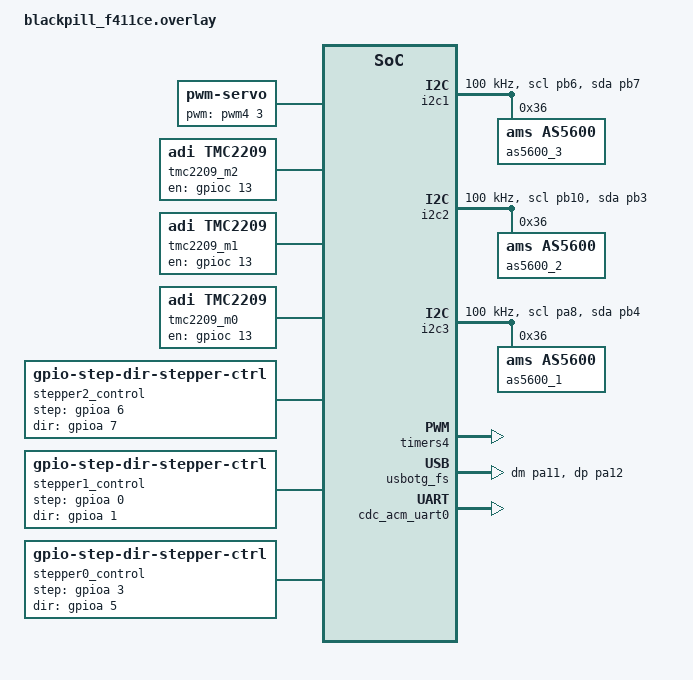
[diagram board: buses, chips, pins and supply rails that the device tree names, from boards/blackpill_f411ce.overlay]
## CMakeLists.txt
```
cmake_minimum_required(VERSION 3.20.0)

set(LIBMICROROS_DIR /home/naj/zephyrproject/micro_ros_zephyr_module/modules/libmicroros)
list(APPEND ZEPHYR_EXTRA_MODULES ${LIBMICROROS_DIR})

find_package(Zephyr REQUIRED HINTS $ENV{ZEPHYR_BASE})
project(joint_microros_tmc2209_gripper_as5600_combined)

target_sources(app PRIVATE src/main.c)
```

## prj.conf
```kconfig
# Zephyr config for triple TMC2209 stepper drivers, gripper servo,
# three AS5600 magnetic encoders, and micro-ROS over USB CDC

CONFIG_GPIO=y
CONFIG_I2C=y
CONFIG_I2C_STM32=y

CONFIG_SENSOR=y
CONFIG_AMS_AS5600=y

CONFIG_MICROROS=y
CONFIG_MICROROS_TRANSPORT_SERIAL_USB=y
CONFIG_CPP=y

CONFIG_MAIN_STACK_SIZE=25000
CONFIG_MAIN_THREAD_PRIORITY=3

CONFIG_NEWLIB_LIBC=y
CONFIG_NEWLIB_LIBC_NANO=n
CONFIG_NEWLIB_LIBC_FLOAT_PRINTF=y

CONFIG_LOG=y
CONFIG_LOG_BACKEND_UART=y
CONFIG_LOG_MODE_DEFERRED=y

CONFIG_SERIAL=y
CONFIG_UART_INTERRUPT_DRIVEN=y
CONFIG_UART_LINE_CTRL=y

CONFIG_POSIX_API=y
CONFIG_POSIX_TIMERS=y
CONFIG_POSIX_CLOCK_SELECTION=y
CONFIG_POSIX_MONOTONIC_CLOCK=y

CONFIG_HEAP_MEM_POOL_SIZE=16384

CONFIG_STEPPER=y
CONFIG_STEPPER_ADI_TMC2209=y
CONFIG_COUNTER=y

CONFIG_PWM=y
CONFIG_PWM_STM32=y

# USB CDC ACM configuration
CONFIG_USB_DEVICE_STACK=y
CONFIG_USB_DEVICE_PRODUCT="STM32 CDC"
CONFIG_USB_DEVICE_VID=0x0483
CONFIG_USB_DEVICE_PID=0x5740
CONFIG_USB_CDC_ACM=y
CONFIG_USB_CDC_ACM_RINGBUF_SIZE=256

# Console
CONFIG_CONSOLE=y
CONFIG_UART_CONSOLE=y
CONFIG_PRINTK=y
CONFIG_STDOUT_CONSOLE=y
```

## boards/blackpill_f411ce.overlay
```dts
/*
 * Device tree overlay for STM32F411 Black Pill with triple TMC2209 stepper drivers,
 * PWM gripper servo, and three AS5600 magnetic encoders on I2C1/I2C2/I2C3.
 *
 * Motor 0 (TMC2209 #1): PC13=EN, PA6=Step, PA7=Dir
 * Motor 1 (TMC2209 #2): PC13=EN, PA0=Step, PA1=Dir
 * Motor 2 (TMC2209 #3): PC13=EN, PA3=Step, PA5=Dir
 * Servo on PB8 (TIM4_CH3)
 *
 * AS5600_1 on I2C1 (PB6=SCL, PB7=SDA) @0x36
 * AS5600_2 on I2C2 (PB10=SCL, PB3=SDA) @0x36
 * AS5600_3 on I2C3 (PA8=SCL, PB4=SDA) @0x36
 */

#include <zephyr/dt-bindings/gpio/gpio.h>
#include <zephyr/dt-bindings/pwm/pwm.h>

/* ==================== I2C Buses with AS5600 ==================== */



/* as5600_3 should be on i2c3 but then I had to replug cables ... this is the soft solution */
&i2c1 {
    status = "okay";
    pinctrl-0 = <&i2c1_scl_pb6 &i2c1_sda_pb7>;
    pinctrl-names = "default";
    clock-frequency = <100000>;

    as5600_3: as5600@36 {
        compatible = "ams,as5600";
        status = "okay";
        reg = <0x36>;
    };
};

&i2c2 {
    pinctrl-0 = <&i2c2_scl_pb10 &i2c2_sda_pb3>;
    pinctrl-names = "default";
    status = "okay";
    clock-frequency = <100000>;

    as5600_2: as5600@36 {
        compatible = "ams,as5600";
        status = "okay";
        reg = <0x36>;
    };
};

&i2c3 {
    pinctrl-0 = <&i2c3_scl_pa8 &i2c3_sda_pb4>;
    pinctrl-names = "default";
    status = "okay";
    clock-frequency = <100000>;

    as5600_1: as5600@36 {
        compatible = "ams,as5600";
        status = "okay";
        reg = <0x36>;
    };
};

/* ==================== PWM Configuration ==================== */

&pinctrl {
    tim4_ch3_pb8: tim4_ch3_pb8 {
        pinmux = <STM32_PINMUX('B', 8, AF2)>;
    };
};

&timers4 {
    status = "okay";
    st,prescaler = <1000>;

    pwm4: pwm {
        status = "okay";
        pinctrl-0 = <&tim4_ch3_pb8>;
        pinctrl-names = "default";
    };
};

/* ==================== Devices ==================== */

/ {
    aliases {
        stepper0 = &stepper0_control;
        stepper1 = &stepper1_control;
        stepper2 = &stepper2_control;
    };

    servo: servo {
        compatible = "pwm-servo";
        pwms = <&pwm4 3 20000000 PWM_POLARITY_NORMAL>;
        min-pulse = <700000>;
        max-pulse = <2300000>;
    };

    tmc2209_m2: tmc2209_m2 {
        compatible = "adi,tmc2209";
        en-gpios = <&gpioc 13 GPIO_ACTIVE_HIGH>;
        micro-step-res = <32>;
    };

    tmc2209_m1: tmc2209_m1 {
        compatible = "adi,tmc2209";
        en-gpios = <&gpioc 13 GPIO_ACTIVE_HIGH>;
        micro-step-res = <32>;
    };


    tmc2209_m0: tmc2209_m0 {
        compatible = "adi,tmc2209";
        en-gpios = <&gpioc 13 GPIO_ACTIVE_HIGH>;
        micro-step-res = <32>;
    };

    stepper2_control: stepper2 {
        compatible = "zephyr,gpio-step-dir-stepper-ctrl";
        status = "okay";
        step-gpios = <&gpioa 6 GPIO_ACTIVE_HIGH>;
        dir-gpios = <&gpioa 7 GPIO_ACTIVE_HIGH>;
        stepper-driver = <&tmc2209_m2>;
    };

    stepper1_control: stepper1 {
        compatible = "zephyr,gpio-step-dir-stepper-ctrl";
        status = "okay";
        step-gpios = <&gpioa 0 GPIO_ACTIVE_HIGH>;
        dir-gpios = <&gpioa 1 GPIO_ACTIVE_HIGH>;
        stepper-driver = <&tmc2209_m1>;
    };

    stepper0_control: stepper0 {
        compatible = "zephyr,gpio-step-dir-stepper-ctrl";
        status = "okay";
        step-gpios = <&gpioa 3 GPIO_ACTIVE_HIGH>;
        dir-gpios = <&gpioa 5 GPIO_ACTIVE_HIGH>;
        stepper-driver = <&tmc2209_m0>;
    };

    chosen {
        zephyr,console = &cdc_acm_uart0;
        zephyr,shell-uart = &cdc_acm_uart0;
    };
};

/* ==================== USB CDC ACM ==================== */

&usbotg_fs {
    pinctrl-0 = <&usb_otg_fs_dm_pa11 &usb_otg_fs_dp_pa12>;
    pinctrl-names = "default";
    status = "okay";
};

&zephyr_udc0 {
    cdc_acm_uart0: cdc_acm_uart0 {
        compatible = "zephyr,cdc-acm-uart";
        label = "CDC_ACM_0";
    };
};
```

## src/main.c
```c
#include <zephyr/kernel.h>
#include <zephyr/drivers/stepper/stepper.h>
#include <zephyr/drivers/stepper/stepper_ctrl.h>
#include <zephyr/drivers/gpio.h>
#include <zephyr/drivers/pwm.h>
#include <zephyr/drivers/sensor.h>
#include <zephyr/drivers/uart.h>
#include <zephyr/logging/log.h>

#include <rcl/rcl.h>
#include <rclc/rclc.h>
#include <rclc/executor.h>
#include <sensor_msgs/msg/joint_state.h>
#include <std_msgs/msg/int32.h>
#include <rcl_interfaces/msg/log.h>
#include <rosidl_runtime_c/string_functions.h>
#include <rosidl_runtime_c/primitives_sequence_functions.h>
#include <rmw_microros/rmw_microros.h>
#include <microros_transports.h>

#define RCCHECK(fn) { rcl_ret_t temp_rc = fn; if((temp_rc != RCL_RET_OK)){LOG_ERR("Failed status on line %d: %d.",__LINE__,(int)temp_rc); return -1; }}
#define RCSOFTCHECK(fn) { rcl_ret_t temp_rc = fn; if((temp_rc != RCL_RET_OK)){LOG_WRN("Failed status on line %d: %d.",__LINE__,(int)temp_rc);}}

#define STEPPER_ENABLE_PIN 13
#define STEPPER0_NODE DT_NODELABEL(stepper0_control)
#define STEPPER1_NODE DT_NODELABEL(stepper1_control)
#define STEPPER2_NODE DT_NODELABEL(stepper2_control)

int64_t last_command_time = 0;
bool motors_enabled = false;



#define AS5600_1 DT_NODELABEL(as5600_1)
#define AS5600_2 DT_NODELABEL(as5600_2)
#define AS5600_3 DT_NODELABEL(as5600_3)

#define M_PI 3.14159265358979323846

/*these parameters are calibration values obtained while using rviz, where the simulated robot has to match the real one*/
// these have been set in calibration.yaml under rviz
//#define JOINT1_OFFSET  2.903821818033854
//#define JOINT2_OFFSET  1.3882471720377605
//#define JOINT3_OFFSET  3.4131018744574653

//#define JOINT1_DIR 1
//#define JOINT2_DIR -1 
//#define JOINT3_DIR 1 

/*since the encoder is on the steppermotor, which rotates more than the robot arm because of gears / reduction*/
//#define JOINT1_RED 6
//#define JOINT2_RED 3 
//#define JOINT3_RED 3 

#define MAX_JOINTS 5 

static const struct pwm_dt_spec servo = PWM_DT_SPEC_GET(DT_NODELABEL(servo));
static const uint32_t min_pulse = DT_PROP(DT_NODELABEL(servo), min_pulse);
static const uint32_t max_pulse = DT_PROP(DT_NODELABEL(servo), max_pulse);

LOG_MODULE_REGISTER(joint_stepper_microros, LOG_LEVEL_INF);

#define ANGLE_TO_STEPS(angle_rad)  ((int32_t)((angle_rad) * 509.3))

const struct device *stepper0_dev;
const struct device *stepper1_dev;
const struct device *stepper2_dev;
const struct device *gpioc_dev;
static int32_t current_microsteps0 = 0;
static int32_t current_microsteps1 = 0;
static int32_t current_microsteps2 = 0;

struct k_sem stepper0_sem;
struct k_sem stepper1_sem;
struct k_sem stepper2_sem;

const struct device *usart1_dev;

rcl_subscription_t joint_commands_subscriber;
static sensor_msgs__msg__JointState joint_state_msg;


rcl_publisher_t log_publisher;
rcl_interfaces__msg__Log log_msg;

static struct sensor_value encoder1_angle;
static struct sensor_value encoder2_angle;
static struct sensor_value encoder3_angle;

rcl_publisher_t joint_state_publisher;
static sensor_msgs__msg__JointState joint_state_pub_msg;

void micro_ros_log_init(rcl_node_t *node)
{
    log_msg.msg.capacity = 128;
    log_msg.msg.data = (char *)malloc(log_msg.msg.capacity * sizeof(char));
    log_msg.msg.size = 0;

    rcl_publisher_options_t pub_ops = rcl_publisher_get_default_options();

    rcl_ret_t ret = rcl_publisher_init(&log_publisher, node,
                       ROSIDL_GET_MSG_TYPE_SUPPORT(rcl_interfaces, msg, Log),
                       "/micro_ros/log",
                       &pub_ops);
    if (ret != RCL_RET_OK) {
        printk("micro-ROS log publisher init failed: %d\n", ret);
    }
}

void micro_ros_log_publish(const char *msg, int level)
{
    uint64_t now_ns = rmw_uros_epoch_nanos();
    log_msg.stamp.sec = now_ns / 1000000000ULL;
    log_msg.stamp.nanosec = now_ns % 1000000000ULL;
    log_msg.level = level;

    rosidl_runtime_c__String__assign(&log_msg.msg, msg);

    rcl_ret_t pub_ret = rcl_publish(&log_publisher, &log_msg, NULL);
    (void)pub_ret;
}

#define LOG_INF_PUBLISH(...) do { \
    char buf[256]; \
    snprintf(buf, sizeof(buf), __VA_ARGS__); \
    LOG_INF(__VA_ARGS__); \
    micro_ros_log_publish(buf, 20); \
    if (usart1_dev && device_is_ready(usart1_dev)) { \
        for (int i = 0; buf[i] != '\0'; i++) { \
            uart_poll_out(usart1_dev, buf[i]); \
        } \
        uart_poll_out(usart1_dev, '\r'); \
        uart_poll_out(usart1_dev, '\n'); \
    } \
} while(0)

#define LOG_ERR_PUBLISH(...) do { \
    char buf[256]; \
    snprintf(buf, sizeof(buf), __VA_ARGS__); \
    LOG_ERR(__VA_ARGS__); \
    micro_ros_log_publish(buf, 40); \
    if (usart1_dev && device_is_ready(usart1_dev)) { \
        for (int i = 0; buf[i] != '\0'; i++) { \
            uart_poll_out(usart1_dev, buf[i]); \
        } \
        uart_poll_out(usart1_dev, '\r'); \
        uart_poll_out(usart1_dev, '\n'); \
    } \
} while(0)

#define LOG_WRN_PUBLISH(...) do { \
    char buf[256]; \
    snprintf(buf, sizeof(buf), __VA_ARGS__); \
    LOG_WRN(__VA_ARGS__); \
    micro_ros_log_publish(buf, 30); \
} while(0)

static void stepper0_callback(const struct device *dev,
                              enum stepper_ctrl_event event,
                              void *user_data)
{
    ARG_UNUSED(dev);
    ARG_UNUSED(user_data);

    if (event == STEPPER_CTRL_EVENT_STEPS_COMPLETED) {
        k_sem_give(&stepper0_sem);
    }
}

static void stepper1_callback(const struct device *dev,
                              enum stepper_ctrl_event event,
                              void *user_data)
{
    ARG_UNUSED(dev);
    ARG_UNUSED(user_data);

    if (event == STEPPER_CTRL_EVENT_STEPS_COMPLETED) {
        k_sem_give(&stepper1_sem);
    }
}

static void stepper2_callback(const struct device *dev,
                              enum stepper_ctrl_event event,
                              void *user_data)
{
    ARG_UNUSED(dev);
    ARG_UNUSED(user_data);

    if (event == STEPPER_CTRL_EVENT_STEPS_COMPLETED) {
        k_sem_give(&stepper2_sem);
    }
}

void gripper_commands_callback(const void *msgin)
{
    const std_msgs__msg__Int32 *msg = (const std_msgs__msg__Int32 *)msgin;
    uint32_t pulse_width;

    if (msg->data < 0) {
        pulse_width = min_pulse;
    } else if (msg->data > 180) {
        pulse_width = max_pulse;
    } else {
        pulse_width = min_pulse + (msg->data * (max_pulse - min_pulse) / 180);
    }

    int ret = pwm_set_pulse_dt(&servo, pulse_width);
    if (ret != 0) {
        LOG_ERR_PUBLISH("Servo PWM set failed: %d", ret);
    } else {
        LOG_INF_PUBLISH("Gripper set to %d (pulse: %d us)", (int)msg->data, (int)pulse_width);
    }
}

void joint_commands_callback(const void *msgin)
{
    const sensor_msgs__msg__JointState *msg = (const sensor_msgs__msg__JointState *)msgin;
    //LOG_INF_PUBLISH("joint_commands_callback");
    printk("commands_callback\n");
    if (msg == NULL || msg->position.data == NULL) {
        return;
    }

    // Aangepast: We checken NIET meer op msg->name.size, want die sturen we niet meer mee!
    if (msg->position.size != 5) {
        LOG_ERR_PUBLISH("Invalid JointState: expected exactly 5 positions");
        return;
    }


    // Extract positions
    double pos0 = msg->position.data[0];
    double pos1 = msg->position.data[1];
    double pos2 = msg->position.data[2];


    last_command_time = k_uptime_get();

    // 2. Als de motoren nog uit stonden, zet ze nu aan
    if (!motors_enabled) {
        // '1' betekent hier: zet de pin in zijn ACTIEVE status (drivers aan)
        gpio_pin_set(gpioc_dev, STEPPER_ENABLE_PIN, 0); 
        motors_enabled = true;
        LOG_INF_PUBLISH("steppers activated\n");
    }

    LOG_INF_PUBLISH("move steppers\n");
    // Move stepper motors
    int32_t target_steps0 = ANGLE_TO_STEPS(pos0);
    int32_t delta0 = target_steps0 - current_microsteps0;
    LOG_INF_PUBLISH("target=%d delta=%d\n", target_steps0, delta0);
    int ret0 = stepper_ctrl_move_by(stepper0_dev, delta0);
    if (ret0 != 0) {
        LOG_ERR_PUBLISH("Stepper0 move failed: %d", ret0);
        LOG_INF_PUBLISH("stepper failed\n");
    } else {
        current_microsteps0 = target_steps0;
        LOG_INF_PUBLISH("stepper OK\n");
    }

    int32_t target_steps1 = ANGLE_TO_STEPS(pos1);
    int32_t delta1 = target_steps1 - current_microsteps1;
    int ret1 = stepper_ctrl_move_by(stepper1_dev, delta1);
    if (ret1 != 0) {
        LOG_ERR_PUBLISH("Stepper1 move failed: %d", ret1);
    } else {
        current_microsteps1 = target_steps1;
    }

    int32_t target_steps2 = ANGLE_TO_STEPS(pos2);
    int32_t delta2 = target_steps2 - current_microsteps2;
    int ret2 = stepper_ctrl_move_by(stepper2_dev, delta2);
    if (ret2 != 0) {
        LOG_ERR_PUBLISH("Stepper2 move failed: %d", ret2);
    } else {
        current_microsteps2 = target_steps2;
    }
}



void angle_timer_callback(rcl_timer_t *timer, int64_t last_call_time)
{
    (void)last_call_time;
    (void)timer;

    const struct device *as5600_1_dev = DEVICE_DT_GET(AS5600_1);
    const struct device *as5600_2_dev = DEVICE_DT_GET(AS5600_2);
    const struct device *as5600_3_dev = DEVICE_DT_GET(AS5600_3);
    printk("still alive\n");
    sensor_sample_fetch(as5600_1_dev);
    sensor_channel_get(as5600_1_dev, SENSOR_CHAN_ROTATION, &encoder1_angle);

    sensor_sample_fetch(as5600_2_dev);
    sensor_channel_get(as5600_2_dev, SENSOR_CHAN_ROTATION, &encoder2_angle);

    sensor_sample_fetch(as5600_3_dev);
    sensor_channel_get(as5600_3_dev, SENSOR_CHAN_ROTATION, &encoder3_angle);

    double enc1_deg = (double)encoder1_angle.val1 + (double)encoder1_angle.val2 / 1000000.0;
    double enc2_deg = (double)encoder2_angle.val1 + (double)encoder2_angle.val2 / 1000000.0;
    double enc3_deg = (double)encoder3_angle.val1 + (double)encoder3_angle.val2 / 1000000.0;


//    joint_state_pub_msg.position.data[0] = ((enc1_deg * M_PI / 180.0) - JOINT1_OFFSET) * JOINT1_DIR / JOINT1_RED;
//    joint_state_pub_msg.position.data[1] = ((enc2_deg * M_PI / 180.0) - JOINT2_OFFSET) * JOINT2_DIR / JOINT2_RED;
//    joint_state_pub_msg.position.data[2] = ((enc3_deg * M_PI / 180.0) - JOINT3_OFFSET) * JOINT3_DIR / JOINT3_RED;


    joint_state_pub_msg.position.data[0] = (enc1_deg * M_PI / 180.0) ;
    joint_state_pub_msg.position.data[1] = (enc2_deg * M_PI / 180.0) ;
    joint_state_pub_msg.position.data[2] = (enc3_deg * M_PI / 180.0) ;
    joint_state_pub_msg.position.data[3] = 0.0;
    joint_state_pub_msg.position.data[4] = 0.0;

    uint64_t now_ns = rmw_uros_epoch_nanos();
    joint_state_pub_msg.header.stamp.sec = now_ns / 1000000000ULL;
    joint_state_pub_msg.header.stamp.nanosec = now_ns % 1000000000ULL;

    RCSOFTCHECK(rcl_publish(&joint_state_publisher, (const void*)&joint_state_pub_msg, NULL));

/*    LOG_INF_PUBLISH("Published /joint_states: [%.4f, %.4f, %.4f, %.4f, %.4f] rad",
            joint_state_pub_msg.position.data[0],
            joint_state_pub_msg.position.data[1],
            joint_state_pub_msg.position.data[2],
            joint_state_pub_msg.position.data[3],
            joint_state_pub_msg.position.data[4]); */
}

int main(void)
{
    usart1_dev = DEVICE_DT_GET(DT_NODELABEL(usart1));

    if (usart1_dev && device_is_ready(usart1_dev)) {
        const char *msg = "hello\r\n";
        for (int i = 0; msg[i] != '\0'; i++) {
            uart_poll_out(usart1_dev, msg[i]);
        }
    }

    LOG_INF_PUBLISH("Starting combined joint+encoder micro-ROS Controller...");

    /* === GPIO and Stepper initialization === */
    gpioc_dev = DEVICE_DT_GET(DT_NODELABEL(gpioc));
    if (!device_is_ready(gpioc_dev)) {
        LOG_ERR_PUBLISH("GPIO device not ready");
        return 0;
    }

    gpio_pin_configure(gpioc_dev, STEPPER_ENABLE_PIN, GPIO_OUTPUT_INACTIVE);
    gpio_pin_set(gpioc_dev, STEPPER_ENABLE_PIN, 1); 

    stepper0_dev = DEVICE_DT_GET(STEPPER0_NODE);
    if (!device_is_ready(stepper0_dev)) {
        LOG_ERR_PUBLISH("Stepper0 device not ready");
        return 0;
    }

    stepper1_dev = DEVICE_DT_GET(STEPPER1_NODE);
    if (!device_is_ready(stepper1_dev)) {
        LOG_ERR_PUBLISH("Stepper1 device not ready");
        return 0;
    }

    stepper2_dev = DEVICE_DT_GET(STEPPER2_NODE);
    if (!device_is_ready(stepper2_dev)) {
        LOG_ERR_PUBLISH("Stepper2 device not ready");
        return 0;
    }

    stepper_ctrl_set_event_cb(stepper0_dev, stepper0_callback, NULL);
    stepper_ctrl_set_reference_position(stepper0_dev, 0);
    stepper_ctrl_set_microstep_interval(stepper0_dev, 1500000);

    stepper_ctrl_set_event_cb(stepper1_dev, stepper1_callback, NULL);
    stepper_ctrl_set_reference_position(stepper1_dev, 0);
    stepper_ctrl_set_microstep_interval(stepper1_dev, 1500000);

    stepper_ctrl_set_event_cb(stepper2_dev, stepper2_callback, NULL);
    stepper_ctrl_set_reference_position(stepper2_dev, 0);
    stepper_ctrl_set_microstep_interval(stepper2_dev, 1500000);

    /* === AS5600 sensor initialization === */
    const struct device *as5600_1_dev = DEVICE_DT_GET(AS5600_1);
    if (!device_is_ready(as5600_1_dev)) {
        LOG_ERR_PUBLISH("AS5600_1 device not ready");
        return 0;
    }

    const struct device *as5600_2_dev = DEVICE_DT_GET(AS5600_2);
    if (!device_is_ready(as5600_2_dev)) {
        LOG_ERR_PUBLISH("AS5600_2 device not ready");
        return 0;
    }

    const struct device *as5600_3_dev = DEVICE_DT_GET(AS5600_3);
    if (!device_is_ready(as5600_3_dev)) {
        LOG_ERR_PUBLISH("AS5600_3 device not ready");
        return 0;
    }

    LOG_INF_PUBLISH("All AS5600 encoders ready");

    if (!pwm_is_ready_dt(&servo)) {
        LOG_ERR_PUBLISH("Servo PWM device not ready");
    } else {
        LOG_INF_PUBLISH("Servo PWM device ready");
    }

    /* === micro-ROS transport === */
    static zephyr_transport_params_t transport_params = {0};
    rmw_uros_set_custom_transport(
        MICRO_ROS_FRAMING_REQUIRED,
        (void *)&transport_params,
        zephyr_transport_open,
        zephyr_transport_close,
        zephyr_transport_write,
        zephyr_transport_read
    );

    /* === micro-ROS support with retry === */
    rcl_allocator_t allocator = rcl_get_default_allocator();
    rclc_support_t support;
    rcl_ret_t rc = RCL_RET_ERROR;

    for (int i = 0; i < 10; i++) {
        rc = rclc_support_init(&support, 0, NULL, &allocator);
        if (rc == RCL_RET_OK) {
            LOG_INF_PUBLISH("micro-ROS support initialized successfully!");
            break;
        }
        LOG_WRN_PUBLISH("rclc_support_init failed (%d), retry %d/10...", rc, i + 1);
        k_msleep(1000);
    }

    if (rc != RCL_RET_OK) {
        LOG_ERR_PUBLISH("Failed to initialize micro-ROS after 10 attempts. Is the Agent running?");
        return 0;
    }

    /* === Create node === */
    rcl_node_t node;
    RCCHECK(rclc_node_init_default(&node, "joint_encoder_stepper_node", "", &support));

    /* === micro-ROS logging === */
    micro_ros_log_init(&node);

    /* === Publisher: /joint_states (encoder positions in radians) === */
    sensor_msgs__msg__JointState__init(&joint_state_pub_msg);

    // 1. Initialiseer de 'name' array voor het aantal joints
    rosidl_runtime_c__String__Sequence__init(&joint_state_pub_msg.name, MAX_JOINTS);

    // 2. Initialiseer de 'position' array voor de double-waarden
//    rosidl_runtime_c__primitives_sequence__double__init(&joint_state_pub_msg.position, MAX_JOINTS);


// Vervang: rosidl_runtime_c__primitives_sequence__double__init(...)
// Door de juiste typespecifieke functies:

     rosidl_runtime_c__double__Sequence__init(&joint_state_pub_msg.position, MAX_JOINTS);
     rosidl_runtime_c__double__Sequence__init(&joint_state_pub_msg.effort, MAX_JOINTS);





    rosidl_runtime_c__String__assign(&joint_state_pub_msg.name.data[0], "joint_1");
    rosidl_runtime_c__String__assign(&joint_state_pub_msg.name.data[1], "joint_2");
    rosidl_runtime_c__String__assign(&joint_state_pub_msg.name.data[2], "joint_3");
    rosidl_runtime_c__String__assign(&joint_state_pub_msg.name.data[3], "joint_4");
    rosidl_runtime_c__String__assign(&joint_state_pub_msg.name.data[4], "joint_6");


    // 4. Zet de sizes correct zodat ROS weet hoeveel data er daadwerkelijk in zit
    joint_state_pub_msg.name.size = MAX_JOINTS;
    joint_state_pub_msg.position.size = MAX_JOINTS;


    RCCHECK(rclc_publisher_init_default(&joint_state_publisher, &node,
        ROSIDL_GET_MSG_TYPE_SUPPORT(sensor_msgs, msg, JointState), "/joint_states"));

    LOG_INF_PUBLISH("/joint_states publisher initialized");

    /* === Timer for periodic encoder publishing === */
    rcl_timer_t angle_timer;
    RCCHECK(rclc_timer_init_default2(&angle_timer, &support,
        RCL_MS_TO_NS(1000), angle_timer_callback, true));





    /* === Allocate JointState subscriber message memory === */
    sensor_msgs__msg__JointState__init(&joint_state_msg);
    
    // 1. Initialiseer de arrays (sequences) met de juiste capaciteit
    bool success = true;
    success &= rosidl_runtime_c__double__Sequence__init(&joint_state_msg.velocity, MAX_JOINTS);
    success &= rosidl_runtime_c__String__Sequence__init(&joint_state_msg.name, MAX_JOINTS);
    success &= rosidl_runtime_c__double__Sequence__init(&joint_state_msg.position, MAX_JOINTS);
    success &= rosidl_runtime_c__double__Sequence__init(&joint_state_msg.effort, MAX_JOINTS);
    success &= rosidl_runtime_c__String__init(&joint_state_msg.header.frame_id);
    
    // Check of de hoofdallocatie is gelukt
    if (!success) {
        LOG_ERR_PUBLISH("Micro-ROS sequence initialization failed");
        return 0;
    }
    
    // 2. Reserveer vooraf bufferruimte voor de inkomende string-data (essentieel voor een subscriber!)
    for (size_t i = 0; i < MAX_JOINTS; i++) {
           rosidl_runtime_c__String__init(&joint_state_msg.name.data[i]);
           if (!rosidl_runtime_c__String__assignn(&joint_state_msg.name.data[i], "", 32)) {
              LOG_ERR_PUBLISH("Failed to allocate string buffer for joint name");
              return 0;
           }
    }
    
    // 3. Reserveer vooraf bufferruimte voor de frame_id string (bijv. 64 karakters)
    if (!rosidl_runtime_c__String__assignn(&joint_state_msg.header.frame_id, "", 64)) {
        LOG_ERR_PUBLISH("Failed to allocate string buffer for frame_id");
        return 0;
    }
    
    RCCHECK(rclc_subscription_init_best_effort(
        &joint_commands_subscriber,
        &node,
        ROSIDL_GET_MSG_TYPE_SUPPORT(sensor_msgs, msg, JointState),
        "/joint_commands")); 


//TODO gripper nog toevoegen


    /* === Executor (2 subscriptions + 1 timer = 3 handles) === */
    rclc_executor_t executor = rclc_executor_get_zero_initialized_executor();
    RCCHECK(rclc_executor_init(&executor, &support.context, 3, &allocator));

    RCCHECK(rclc_executor_add_subscription(
        &executor, &joint_commands_subscriber, &joint_state_msg,
        &joint_commands_callback, ON_NEW_DATA));

//    RCCHECK(rclc_executor_add_subscription(
//       &executor, &gripper_commands_subscriber, &gripper_cmd_msg,
//        &gripper_commands_callback, ON_NEW_DATA));

    RCCHECK(rclc_executor_add_timer(&executor, &angle_timer));

    LOG_INF_PUBLISH("Setup complete! Subscribed to /joint_commands and /gripper_cmd");
    LOG_INF_PUBLISH("Publishing encoder positions to /joint_states");

    /* === Main loop === */
    while (1) {
        rclc_executor_spin_some(&executor, RCL_MS_TO_NS(10));
        // TIMEOUT CHECK: Alleen controleren als de motoren daadwerkelijk aan staan
        if (motors_enabled) {
            int64_t current_time = k_uptime_get();
        
            // 2000 milliseconden = 2 seconden inactiviteit
            if ((current_time - last_command_time) > 2000) {
                  // '0' betekent hier: zet de pin in zijn INACTIEVE status (drivers stroomloos)
                  gpio_pin_set(gpioc_dev, STEPPER_ENABLE_PIN, 1);
                  motors_enabled = false;
                  LOG_INF_PUBLISH("[WARN] Timeout: Geen trajectdata meer ontvangen. Motoren uitgeschakeld voor veiligheid.\n");
            }
        }
        k_sleep(K_MSEC(10));
    }

    /* Cleanup */
    rcl_ret_t cleanup_ret;
    cleanup_ret = rcl_subscription_fini(&joint_commands_subscriber, &node);
    (void)cleanup_ret;
    cleanup_ret = rcl_node_fini(&node);
    (void)cleanup_ret;
    (void)rclc_support_fini(&support);

    return 0;
}
```
